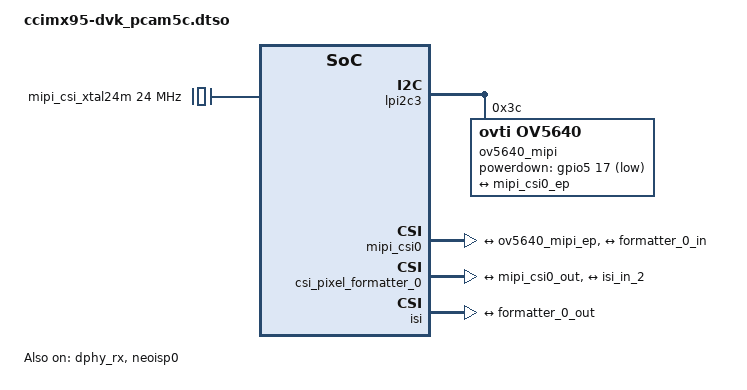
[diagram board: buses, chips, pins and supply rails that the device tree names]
// SPDX-License-Identifier: (GPL-2.0+ OR MIT)
/*
 * Copyright 2025 Digi International Inc.
 */

/dts-v1/;
/plugin/;

#include <dt-bindings/clock/fsl,imx95-clock.h>
#include <dt-bindings/gpio/gpio.h>
#include <dt-bindings/interrupt-controller/irq.h>
#include "../freescale/imx95-pinfunc.h"

/ {
	fragment@0 {
		target-path = "/";
		__overlay__ {
			overlay-description = "DVK: Digilent Pcam 5C MIPI camera";

			/* fixed 24MHz crystal for mipi camera */
			mipi_csi_xtal24m: mipi_csi_xtal24m {
				compatible = "fixed-clock";
				#clock-cells = <0>;
				clock-frequency = <24000000>;
				clock-output-names = "xtal_24MHz";
			};
		};
	};

	/* Camera sensor */
	fragment@1 {
		target = <&lpi2c3>;
		__overlay__ {
			#address-cells = <1>;
			#size-cells = <0>;

			/* MIPI-CSI camera */
			ov5640_mipi: ov5640_mipi@3c {
				compatible = "ovti,ov5640";
				reg = <0x3c>;
				pinctrl-names = "default";
				pinctrl-0 = <&pinctrl_mipi>;
				clocks = <&mipi_csi_xtal24m>;
				clock-names = "xclk";
				powerdown-gpios = <&gpio5 17 GPIO_ACTIVE_LOW>;
				digi,use-pm-ops;
				status = "okay";

				port {
					ov5640_mipi_ep: endpoint {
						remote-endpoint = <&mipi_csi0_ep>;
						data-lanes = <1 2>;
						clock-lanes = <0>;
					};
				};
			};
		};
	};

	/* Enable MIPI Rx DPHY */
	fragment@2 {
		target = <&dphy_rx>;
		__overlay__ {
			status = "okay";
		};
	};

	/* Enable MIPI CSI */
	fragment@3 {
		target = <&mipi_csi0>;
		__overlay__ {
			status = "okay";

			ports {
				#address-cells = <1>;
				#size-cells = <0>;

				port@0 {
					reg = <0>;

					mipi_csi0_ep: endpoint {
						remote-endpoint = <&ov5640_mipi_ep>;
						data-lanes = <1 2>;
						clock-lanes = <0>;
					};
				};

				port@1 {
					reg = <1>;
					mipi_csi0_out: endpoint {
						remote-endpoint = <&formatter_0_in>;
					};
				};
			};
		};
	};

	/* Enable CSI pixel formatter */
	fragment@4 {
		target = <&csi_pixel_formatter_0>;
		__overlay__ {
			status = "okay";

			ports {
				#address-cells = <1>;
				#size-cells = <0>;

				port@0 {
					reg = <0>;

					formatter_0_in: endpoint {
						remote-endpoint = <&mipi_csi0_out>;
					};
				};

				port@1 {
					reg = <1>;

					formatter_0_out: endpoint {
						remote-endpoint = <&isi_in_2>;
					};
				};
			};
		};
	};

	/* Enable the Image Sensing Interface */
	fragment@5 {
		target = <&isi>;
		__overlay__ {
			status = "okay";

			ports {
				#address-cells = <1>;
				#size-cells = <0>;

				/*
				* ISI ports 0 and 1 are fed by DPU pixel-link outputs.
				* ISI ports 2 and 3 are fed by CameraMix
				* (formatter/interleaver) outputs.
				*/
				port@2 {
					reg = <2>;

					isi_in_2: endpoint {
						remote-endpoint = <&formatter_0_out>;
					};
				};
			};
		};
	};


	/* pinctrl */
	fragment@6 {
		target = <&scmi_iomuxc>;
		__overlay__ {
			/* MIPI Camera */
			pinctrl_mipi: mipi {
				fsl,pins = <
					/* Camera PWUP */
					IMX95_PAD_GPIO_IO37__GPIO5_IO_BIT17		0x31e
				>;
			};
		};
	};

	/* Enable Neo ISP */
	fragment@7 {
		target = <&neoisp0>;
		__overlay__ {
			compatible = "nxp,imx95-b0-neoisp";
			status = "okay";
		};
	};
};
